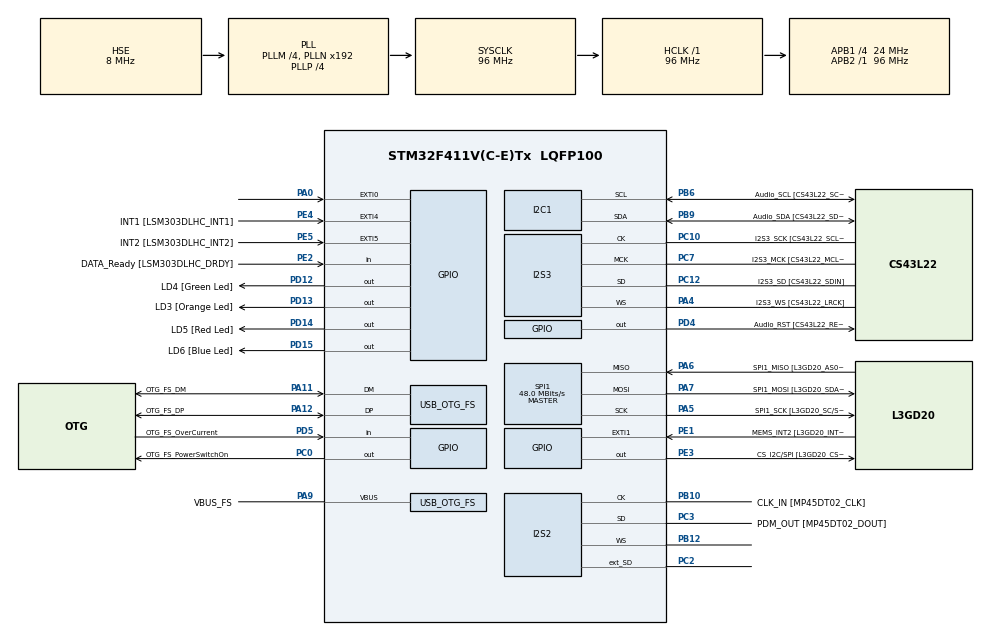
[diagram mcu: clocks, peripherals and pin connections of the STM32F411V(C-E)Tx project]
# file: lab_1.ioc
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I2S2.AudioFreq=I2S_AUDIOFREQ_96K
I2S2.ErrorAudioFreq=0.15 %
I2S2.FullDuplexMode=I2S_FULLDUPLEXMODE_ENABLE
I2S2.Instance=SPI$Index
I2S2.RealAudioFreq=96.153 KHz
I2S2.VirtualMode=I2S_MODE_MASTER
I2S3.AudioFreq=I2S_AUDIOFREQ_96K
I2S3.ErrorAudioFreq=-6.99 %
I2S3.FullDuplexMode=I2S_FULLDUPLEXMODE_DISABLE
I2S3.Instance=SPI$Index
I2S3.RealAudioFreq=89.285 KHz
I2S3.VirtualMode=I2S_MODE_MASTER
Mcu.Family=STM32F4
Mcu.Name=STM32F411V(C-E)Tx
Mcu.Package=LQFP100
NVIC.OTG_FS_IRQn=true\:0\:0\:false\:false\:true\:true\:true\:true
NVIC.PriorityGroup=NVIC_PRIORITYGROUP_0
PA0-WKUP.GPIO_ModeDefaultEXTI=GPIO_MODE_EVT_RISING
PA0-WKUP.Signal=GPXTI0
PA10.GPIO_Label=OTG_FS_ID
PA10.Signal=USB_OTG_FS_ID
PA11.GPIO_Label=OTG_FS_DM
PA11.Mode=Host_Only
PA11.Signal=USB_OTG_FS_DM
PA12.GPIO_Label=OTG_FS_DP
PA12.Mode=Host_Only
PA12.Signal=USB_OTG_FS_DP
PA13.GPIO_Label=SWDIO
PA13.Mode=Serial_Wire
PA13.Signal=SYS_JTMS-SWDIO
PA14.GPIO_Label=SWCLK
PA14.Mode=Serial_Wire
PA14.Signal=SYS_JTCK-SWCLK
PA4.GPIO_Label=I2S3_WS [CS43L22_LRCK]
PA4.GPIO_Mode=GPIO_MODE_AF_PP
PA4.GPIO_PuPd=GPIO_NOPULL
PA4.GPIO_Speed=GPIO_SPEED_FREQ_LOW
PA4.Mode=Half_Duplex_Master
PA4.Signal=I2S3_WS
PA5.GPIO_Label=SPI1_SCK [L3GD20_SC/SPC]
PA5.Mode=Full_Duplex_Master
PA5.Signal=SPI1_SCK
PA6.GPIO_Label=SPI1_MISO [L3GD20_AS0/SDO]
PA6.Mode=Full_Duplex_Master
PA6.Signal=SPI1_MISO
PA7.GPIO_Label=SPI1_MOSI [L3GD20_SDA/SDI/SDO]
PA7.Mode=Full_Duplex_Master
PA7.Signal=SPI1_MOSI
PA9.GPIO_Label=VBUS_FS
PA9.Mode=Activate_VBUS
PA9.Signal=USB_OTG_FS_VBUS
PB10.GPIO_Label=CLK_IN [MP45DT02_CLK]
PB10.Mode=Full_Duplex_Master
PB10.Signal=I2S2_CK
PB12.Mode=Full_Duplex_Master
PB12.Signal=I2S2_WS
PB3.GPIO_Label=SWO
PB3.Signal=SYS_JTDO-SWO
PB6.GPIO_Label=Audio_SCL [CS43L22_SCL]
PB6.GPIO_Mode=GPIO_MODE_AF_OD
PB6.GPIO_Pu=GPIO_PULLUP
PB6.GPIO_PuPd=GPIO_NOPULL
PB6.GPIO_Speed=GPIO_SPEED_FREQ_LOW
PB6.Mode=I2C
PB6.Signal=I2C1_SCL
PB9.GPIO_Label=Audio_SDA [CS43L22_SDA]
PB9.GPIO_Mode=GPIO_MODE_AF_OD
PB9.GPIO_Pu=GPIO_PULLUP
PB9.GPIO_PuPd=GPIO_NOPULL
PB9.GPIO_Speed=GPIO_SPEED_FREQ_LOW
PB9.Mode=I2C
PB9.Signal=I2C1_SDA
PC0.GPIO_Label=OTG_FS_PowerSwitchOn
PC0.PinState=GPIO_PIN_SET
PC0.Signal=GPIO_Output
PC10.GPIO_Label=I2S3_SCK [CS43L22_SCLK]
PC10.GPIO_Mode=GPIO_MODE_AF_PP
PC10.GPIO_PuPd=GPIO_NOPULL
PC10.GPIO_Speed=GPIO_SPEED_FREQ_LOW
PC10.Mode=Half_Duplex_Master
PC10.Signal=I2S3_CK
PC12.GPIO_Label=I2S3_SD [CS43L22_SDIN]
PC12.GPIO_Mode=GPIO_MODE_AF_PP
PC12.GPIO_PuPd=GPIO_NOPULL
PC12.GPIO_Speed=GPIO_SPEED_FREQ_LOW
PC12.Mode=Half_Duplex_Master
PC12.Signal=I2S3_SD
PC14-OSC32_IN.GPIO_Label=PC14-OSC32_IN
PC14-OSC32_IN.Mode=LSE-External-Oscillator
PC14-OSC32_IN.Signal=RCC_OSC32_IN
PC15-OSC32_OUT.GPIO_Label=PC15-OSC32_OUT
PC15-OSC32_OUT.Mode=LSE-External-Oscillator
PC15-OSC32_OUT.Signal=RCC_OSC32_OUT
PC2.Mode=Full_Duplex_Master
PC2.Signal=I2S2_ext_SD
PC3.GPIO_Label=PDM_OUT [MP45DT02_DOUT]
PC3.Mode=Full_Duplex_Master
PC3.Signal=I2S2_SD
PC7.GPIO_Label=I2S3_MCK [CS43L22_MCLK]
PC7.GPIO_Mode=GPIO_MODE_AF_PP
PC7.GPIO_PuPd=GPIO_NOPULL
PC7.GPIO_Speed=GPIO_SPEED_FREQ_LOW
PC7.Mode=Master_Clock_Activated
PC7.Signal=I2S3_MCK
PD12.GPIO_Label=LD4 [Green Led]
PD12.GPIO_PuPd=GPIO_NOPULL
PD12.GPIO_Speed=GPIO_SPEED_FREQ_LOW
PD12.Signal=GPIO_Output
PD13.GPIO_Label=LD3 [Orange Led]
PD13.GPIO_PuPd=GPIO_NOPULL
PD13.GPIO_Speed=GPIO_SPEED_FREQ_LOW
PD13.Signal=GPIO_Output
PD14.GPIO_Label=LD5 [Red Led]
PD14.GPIO_PuPd=GPIO_NOPULL
PD14.GPIO_Speed=GPIO_SPEED_FREQ_LOW
PD14.Signal=GPIO_Output
PD15.GPIO_Label=LD6 [Blue Led]
PD15.GPIO_PuPd=GPIO_NOPULL
PD15.GPIO_Speed=GPIO_SPEED_FREQ_LOW
PD15.Signal=GPIO_Output
PD4.GPIO_Label=Audio_RST [CS43L22_RESET]
PD4.Signal=GPIO_Output
PD5.GPIO_Label=OTG_FS_OverCurrent
PD5.Signal=GPIO_Input
PE1.GPIO_Label=MEMS_INT2 [L3GD20_INT2]
PE1.GPIO_ModeDefaultEXTI=GPIO_MODE_EVT_RISING
PE1.Signal=GPXTI1
PE2.GPIO_Label=DATA_Ready [LSM303DLHC_DRDY]
PE2.Signal=GPIO_Input
PE3.GPIO_Label=CS_I2C/SPI [L3GD20_CS_I2C/SPI]
PE3.Signal=GPIO_Output
PE4.GPIO_Label=INT1 [LSM303DLHC_INT1]
PE4.GPIO_ModeDefaultEXTI=GPIO_MODE_EVT_RISING
PE4.Signal=GPXTI4
PE5.GPIO_Label=INT2 [LSM303DLHC_INT2]
PE5.GPIO_ModeDefaultEXTI=GPIO_MODE_EVT_RISING
PE5.Signal=GPXTI5
PH0\ -\ OSC_IN.GPIO_Label=PH0-OSC_IN
PH0\ -\ OSC_IN.Mode=HSE-External-Oscillator
PH0\ -\ OSC_IN.Signal=RCC_OSC_IN
PH1\ -\ OSC_OUT.GPIO_Label=PH1-OSC_OUT
PH1\ -\ OSC_OUT.Mode=HSE-External-Oscillator
PH1\ -\ OSC_OUT.Signal=RCC_OSC_OUT
ProjectManager.HeapSize=0x200
ProjectManager.StackSize=0x400
ProjectManager.TargetToolchain=STM32CubeIDE
RCC.48MHZClocksFreq_Value=48000000
RCC.AHBFreq_Value=96000000
RCC.APB1CLKDivider=RCC_HCLK_DIV4
RCC.APB1Freq_Value=24000000
RCC.APB1TimFreq_Value=48000000
RCC.APB2Freq_Value=96000000
RCC.APB2TimFreq_Value=96000000
RCC.CortexFreq_Value=96000000
RCC.HCLKFreq_Value=96000000
RCC.HSE_VALUE=8000000
RCC.HSI_VALUE=16000000
RCC.PLLI2SM=5
RCC.PLLI2SN=200
RCC.PLLM=4
RCC.PLLP=RCC_PLLP_DIV4
RCC.PLLQ=8
RCC.SYSCLKFreq_VALUE=96000000
RCC.SYSCLKSource=RCC_SYSCLKSOURCE_PLLCLK
RCC.VCOOutputFreq_Value=384000000
SPI1.BaudRatePrescaler=SPI_BAUDRATEPRESCALER_2
SPI1.CalculateBaudRate=48.0 MBits/s
SPI1.Direction=SPI_DIRECTION_2LINES
SPI1.Mode=SPI_MODE_MASTER
SPI1.VirtualType=VM_MASTER
USB_HOST.BSP.number=1
USB_HOST.USBH_HandleTypeDef=hUsbHostFS
USB_HOST.VirtualModeFS=Cdc
USB_HOST0.BSP.STBoard=false
USB_HOST0.BSP.api=Unknown
USB_HOST0.BSP.instance=PC0
USB_HOST0.BSP.ip=GPIO
USB_HOST0.BSP.mode=Output
USB_HOST0.BSP.name=Drive_VBUS_FS
USB_HOST0.BSP.solution=PC0
USB_OTG_FS.VirtualMode=Host_Only
USB_OTG_FS.phy_itface=HCD_PHY_EMBEDDED
VP_USB_HOST_VS_USB_HOST_CDC_FS.Mode=CDC_FS
board=STM32F411E-DISCO

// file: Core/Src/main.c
/* USER CODE BEGIN Header */
/**
 ******************************************************************************
 * @file           : main.c
 * @brief          : Main program body
 ******************************************************************************
 * @attention
 *
 * Copyright (c) 2025 STMicroelectronics.
 * All rights reserved.
 *
 * This software is licensed under terms that can be found in the LICENSE file
 * in the root directory of this software component.
 * If no LICENSE file comes with this software, it is provided AS-IS.
 *
 ******************************************************************************
 */
/* USER CODE END Header */
#include "main.h"
#include "usb_host.h"

I2C_HandleTypeDef hi2c1;

I2S_HandleTypeDef hi2s2;
I2S_HandleTypeDef hi2s3;

SPI_HandleTypeDef hspi1;

/* USER CODE BEGIN PV */
const uint16_t second = 1000;

/* USER CODE END PV */

void SystemClock_Config(void);
void PeriphCommonClock_Config(void);
static void MX_GPIO_Init(void);
static void MX_I2C1_Init(void);
static void MX_I2S2_Init(void);
static void MX_I2S3_Init(void);
static void MX_SPI1_Init(void);
void MX_USB_HOST_Process(void);

int main(void) {

  /* MCU Configuration--------------------------------------------------------*/

  /* Reset of all peripherals, Initializes the Flash interface and the Systick.
   */
  HAL_Init();

  /* Configure the system clock */
  SystemClock_Config();

  /* Configure the peripherals common clocks */
  PeriphCommonClock_Config();

  /* Initialize all configured peripherals */
  MX_GPIO_Init();
  MX_I2C1_Init();
  MX_I2S2_Init();
  MX_I2S3_Init();
  MX_SPI1_Init();
  MX_USB_HOST_Init();

  /* Infinite loop */
  /* USER CODE BEGIN WHILE */
  while (1) {
    HAL_GPIO_TogglePin(LD3_GPIO_Port, LD3_Pin);
    HAL_Delay(second / 10);
    HAL_GPIO_TogglePin(LD3_GPIO_Port, LD3_Pin);

    HAL_GPIO_TogglePin(LD5_GPIO_Port, LD5_Pin);
    HAL_Delay(second / 10);
    HAL_GPIO_TogglePin(LD5_GPIO_Port, LD5_Pin);

    HAL_GPIO_TogglePin(LD6_GPIO_Port, LD6_Pin);
    HAL_Delay(second / 10);
    HAL_GPIO_TogglePin(LD6_GPIO_Port, LD6_Pin);

    HAL_GPIO_TogglePin(LD4_GPIO_Port, LD4_Pin);
    HAL_Delay(second / 10);
    HAL_GPIO_TogglePin(LD4_GPIO_Port, LD4_Pin);

    /* USER CODE END WHILE */
    MX_USB_HOST_Process();

  }
}

void SystemClock_Config(void) {
  RCC_OscInitTypeDef RCC_OscInitStruct = {0};
  RCC_ClkInitTypeDef RCC_ClkInitStruct = {0};

  /** Configure the main internal regulator output voltage
   */
  __HAL_RCC_PWR_CLK_ENABLE();
  __HAL_PWR_VOLTAGESCALING_CONFIG(PWR_REGULATOR_VOLTAGE_SCALE1);

  /** Initializes the RCC Oscillators according to the specified parameters
   * in the RCC_OscInitTypeDef structure.
   */
  RCC_OscInitStruct.OscillatorType = RCC_OSCILLATORTYPE_HSE;
  RCC_OscInitStruct.HSEState = RCC_HSE_ON;
  RCC_OscInitStruct.PLL.PLLState = RCC_PLL_ON;
  RCC_OscInitStruct.PLL.PLLSource = RCC_PLLSOURCE_HSE;
  RCC_OscInitStruct.PLL.PLLM = 4;
  RCC_OscInitStruct.PLL.PLLN = 192;
  RCC_OscInitStruct.PLL.PLLP = RCC_PLLP_DIV4;
  RCC_OscInitStruct.PLL.PLLQ = 8;
  if (HAL_RCC_OscConfig(&RCC_OscInitStruct) != HAL_OK) {
    Error_Handler();
  }

  /** Initializes the CPU, AHB and APB buses clocks
   */
  RCC_ClkInitStruct.ClockType = RCC_CLOCKTYPE_HCLK | RCC_CLOCKTYPE_SYSCLK |
                                RCC_CLOCKTYPE_PCLK1 | RCC_CLOCKTYPE_PCLK2;
  RCC_ClkInitStruct.SYSCLKSource = RCC_SYSCLKSOURCE_PLLCLK;
  RCC_ClkInitStruct.AHBCLKDivider = RCC_SYSCLK_DIV1;
  RCC_ClkInitStruct.APB1CLKDivider = RCC_HCLK_DIV4;
  RCC_ClkInitStruct.APB2CLKDivider = RCC_HCLK_DIV1;

  if (HAL_RCC_ClockConfig(&RCC_ClkInitStruct, FLASH_LATENCY_3) != HAL_OK) {
    Error_Handler();
  }
}

void PeriphCommonClock_Config(void) {
  RCC_PeriphCLKInitTypeDef PeriphClkInitStruct = {0};

  /** Initializes the peripherals clock
   */
  PeriphClkInitStruct.PeriphClockSelection = RCC_PERIPHCLK_I2S;
  PeriphClkInitStruct.PLLI2S.PLLI2SN = 200;
  PeriphClkInitStruct.PLLI2S.PLLI2SM = 5;
  PeriphClkInitStruct.PLLI2S.PLLI2SR = 2;
  if (HAL_RCCEx_PeriphCLKConfig(&PeriphClkInitStruct) != HAL_OK) {
    Error_Handler();
  }
}

static void MX_I2C1_Init(void) {

  hi2c1.Instance = I2C1;
  hi2c1.Init.ClockSpeed = 100000;
  hi2c1.Init.DutyCycle = I2C_DUTYCYCLE_2;
  hi2c1.Init.OwnAddress1 = 0;
  hi2c1.Init.AddressingMode = I2C_ADDRESSINGMODE_7BIT;
  hi2c1.Init.DualAddressMode = I2C_DUALADDRESS_DISABLE;
  hi2c1.Init.OwnAddress2 = 0;
  hi2c1.Init.GeneralCallMode = I2C_GENERALCALL_DISABLE;
  hi2c1.Init.NoStretchMode = I2C_NOSTRETCH_DISABLE;
  if (HAL_I2C_Init(&hi2c1) != HAL_OK) {
    Error_Handler();
  }
}

static void MX_I2S2_Init(void) {

  hi2s2.Instance = SPI2;
  hi2s2.Init.Mode = I2S_MODE_MASTER_TX;
  hi2s2.Init.Standard = I2S_STANDARD_PHILIPS;
  hi2s2.Init.DataFormat = I2S_DATAFORMAT_16B;
  hi2s2.Init.MCLKOutput = I2S_MCLKOUTPUT_DISABLE;
  hi2s2.Init.AudioFreq = I2S_AUDIOFREQ_96K;
  hi2s2.Init.CPOL = I2S_CPOL_LOW;
  hi2s2.Init.ClockSource = I2S_CLOCK_PLL;
  hi2s2.Init.FullDuplexMode = I2S_FULLDUPLEXMODE_ENABLE;
  if (HAL_I2S_Init(&hi2s2) != HAL_OK) {
    Error_Handler();
  }
}

static void MX_I2S3_Init(void) {

  hi2s3.Instance = SPI3;
  hi2s3.Init.Mode = I2S_MODE_MASTER_TX;
  hi2s3.Init.Standard = I2S_STANDARD_PHILIPS;
  hi2s3.Init.DataFormat = I2S_DATAFORMAT_16B;
  hi2s3.Init.MCLKOutput = I2S_MCLKOUTPUT_ENABLE;
  hi2s3.Init.AudioFreq = I2S_AUDIOFREQ_96K;
  hi2s3.Init.CPOL = I2S_CPOL_LOW;
  hi2s3.Init.ClockSource = I2S_CLOCK_PLL;
  hi2s3.Init.FullDuplexMode = I2S_FULLDUPLEXMODE_DISABLE;
  if (HAL_I2S_Init(&hi2s3) != HAL_OK) {
    Error_Handler();
  }
}

static void MX_SPI1_Init(void) {

  /* SPI1 parameter configuration*/
  hspi1.Instance = SPI1;
  hspi1.Init.Mode = SPI_MODE_MASTER;
  hspi1.Init.Direction = SPI_DIRECTION_2LINES;
  hspi1.Init.DataSize = SPI_DATASIZE_8BIT;
  hspi1.Init.CLKPolarity = SPI_POLARITY_LOW;
  hspi1.Init.CLKPhase = SPI_PHASE_1EDGE;
  hspi1.Init.NSS = SPI_NSS_SOFT;
  hspi1.Init.BaudRatePrescaler = SPI_BAUDRATEPRESCALER_2;
  hspi1.Init.FirstBit = SPI_FIRSTBIT_MSB;
  hspi1.Init.TIMode = SPI_TIMODE_DISABLE;
  hspi1.Init.CRCCalculation = SPI_CRCCALCULATION_DISABLE;
  hspi1.Init.CRCPolynomial = 10;
  if (HAL_SPI_Init(&hspi1) != HAL_OK) {
    Error_Handler();
  }
}

static void MX_GPIO_Init(void) {
  GPIO_InitTypeDef GPIO_InitStruct = {0};

  /* GPIO Ports Clock Enable */
  __HAL_RCC_GPIOE_CLK_ENABLE();
  __HAL_RCC_GPIOC_CLK_ENABLE();
  __HAL_RCC_GPIOH_CLK_ENABLE();
  __HAL_RCC_GPIOA_CLK_ENABLE();
  __HAL_RCC_GPIOB_CLK_ENABLE();
  __HAL_RCC_GPIOD_CLK_ENABLE();

  /*Configure GPIO pin Output Level */
  HAL_GPIO_WritePin(CS_I2C_SPI_GPIO_Port, CS_I2C_SPI_Pin, GPIO_PIN_RESET);

  /*Configure GPIO pin Output Level */
  HAL_GPIO_WritePin(OTG_FS_PowerSwitchOn_GPIO_Port, OTG_FS_PowerSwitchOn_Pin,
                    GPIO_PIN_SET);

  /*Configure GPIO pin Output Level */
  HAL_GPIO_WritePin(GPIOD,
                    LD4_Pin | LD3_Pin | LD5_Pin | LD6_Pin | Audio_RST_Pin,
                    GPIO_PIN_RESET);

  /*Configure GPIO pin : DATA_Ready_Pin */
  GPIO_InitStruct.Pin = DATA_Ready_Pin;
  GPIO_InitStruct.Mode = GPIO_MODE_INPUT;
  GPIO_InitStruct.Pull = GPIO_NOPULL;
  HAL_GPIO_Init(DATA_Ready_GPIO_Port, &GPIO_InitStruct);

  /*Configure GPIO pin : CS_I2C_SPI_Pin */
  GPIO_InitStruct.Pin = CS_I2C_SPI_Pin;
  GPIO_InitStruct.Mode = GPIO_MODE_OUTPUT_PP;
  GPIO_InitStruct.Pull = GPIO_NOPULL;
  GPIO_InitStruct.Speed = GPIO_SPEED_FREQ_LOW;
  HAL_GPIO_Init(CS_I2C_SPI_GPIO_Port, &GPIO_InitStruct);

  /*Configure GPIO pins : INT1_Pin INT2_Pin MEMS_INT2_Pin */
  GPIO_InitStruct.Pin = INT1_Pin | INT2_Pin | MEMS_INT2_Pin;
  GPIO_InitStruct.Mode = GPIO_MODE_EVT_RISING;
  GPIO_InitStruct.Pull = GPIO_NOPULL;
  HAL_GPIO_Init(GPIOE, &GPIO_InitStruct);

  /*Configure GPIO pin : OTG_FS_PowerSwitchOn_Pin */
  GPIO_InitStruct.Pin = OTG_FS_PowerSwitchOn_Pin;
  GPIO_InitStruct.Mode = GPIO_MODE_OUTPUT_PP;
  GPIO_InitStruct.Pull = GPIO_NOPULL;
  GPIO_InitStruct.Speed = GPIO_SPEED_FREQ_LOW;
  HAL_GPIO_Init(OTG_FS_PowerSwitchOn_GPIO_Port, &GPIO_InitStruct);

  /*Configure GPIO pin : PA0 */
  GPIO_InitStruct.Pin = GPIO_PIN_0;
  GPIO_InitStruct.Mode = GPIO_MODE_EVT_RISING;
  GPIO_InitStruct.Pull = GPIO_NOPULL;
  HAL_GPIO_Init(GPIOA, &GPIO_InitStruct);

  /*Configure GPIO pins : LD4_Pin LD3_Pin LD5_Pin LD6_Pin
                           Audio_RST_Pin */
  GPIO_InitStruct.Pin = LD4_Pin | LD3_Pin | LD5_Pin | LD6_Pin | Audio_RST_Pin;
  GPIO_InitStruct.Mode = GPIO_MODE_OUTPUT_PP;
  GPIO_InitStruct.Pull = GPIO_NOPULL;
  GPIO_InitStruct.Speed = GPIO_SPEED_FREQ_LOW;
  HAL_GPIO_Init(GPIOD, &GPIO_InitStruct);

  /*Configure GPIO pin : OTG_FS_OverCurrent_Pin */
  GPIO_InitStruct.Pin = OTG_FS_OverCurrent_Pin;
  GPIO_InitStruct.Mode = GPIO_MODE_INPUT;
  GPIO_InitStruct.Pull = GPIO_NOPULL;
  HAL_GPIO_Init(OTG_FS_OverCurrent_GPIO_Port, &GPIO_InitStruct);

}

void Error_Handler(void) {
  __disable_irq();
  while (1) {
  }
}
#ifdef USE_FULL_ASSERT
/**
 * @brief  Reports the name of the source file and the source line number
 *         where the assert_param error has occurred.
 * @param  file: pointer to the source file name
 * @param  line: assert_param error line source number
 * @retval None
 */
void assert_failed(uint8_t *file, uint32_t line) {
  /* USER CODE BEGIN 6 */
  /* User can add his own implementation to report the file name and line
     number, ex: printf("Wrong parameters value: file %s on line %d\r\n", file,
     line) */
  /* USER CODE END 6 */
}
#endif /* USE_FULL_ASSERT */
